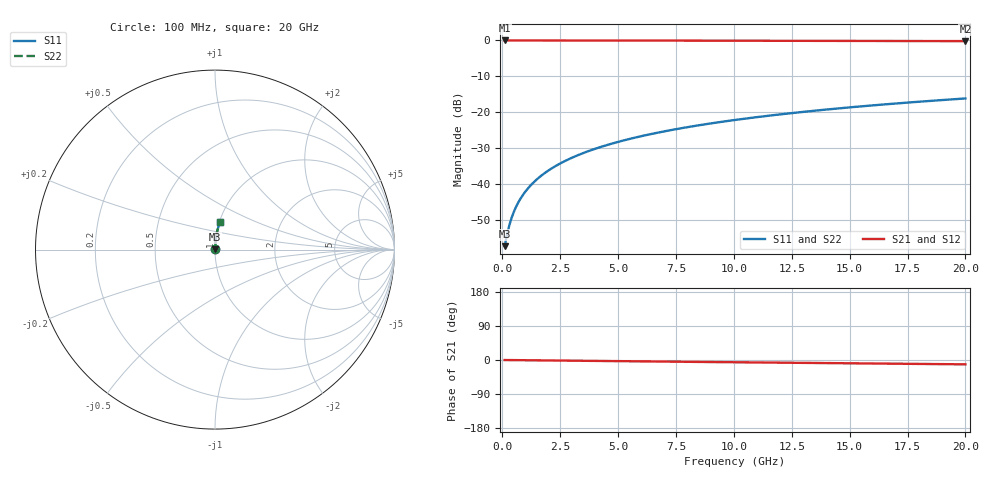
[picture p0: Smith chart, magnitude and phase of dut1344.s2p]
! Touchstone file exported from HFSS 2024.1.0
!  File:  C:/UserFiles/LocalFiles/RDL_TSV_Batchsim/temp_RDL_top_1344_1780365938.aedt
!  Generated:  10:07:55 AM Jun  2, 2026
!  Design:  RDL_top
!  Project:  temp_RDL_top_1344_1780365938
!  Setup:  Setup1
!  Solution:  Sweep
! Variables:
!  dtsv = 10.80580581um
!  hbump = 3um
!  htsv = 92.05um
!  ldown = 100um
!  lrdl = 112.75um
!  p = 40
!  p1 = 44.24um
!  rhole = 1um
!  t = 450um
!  tdown = 3.915915916um
!  trdl = 3.7um
!  wdown = 15.38538539um
!  wrdl = 11.55um
# GHz S MA R 50.000000
! Terminal data exported
! Port[1] = Box2_T1
! Port[2] = Box2_T2
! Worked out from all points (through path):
!   200 points, 100 MHz to 20 GHz, reference 50 ohm
!   highest |S21| = -0.01 dB at 100 MHz (marker M1); lowest = -0.2 dB at 20 GHz (marker M2)
!   group delay of S21, straight-line fit = 1.58 ps
!   lowest |S11| = -57.4 dB at 100 MHz (marker M3), VSWR 1.00, Z = 50.1 + j0.0794 ohm
!   |S11| at or under -10 dB: start of sweep to end of sweep
!   |S22| runs from -57.4 to -16.2 dB; largest |S21 - S12| = 2.2e-15
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0.1  0.001348 36.0  0.9989 -0.1  0.9989 -0.1  0.001348 36.0
! Gamma 0 0 0 0
! Port Impedance 50 0 50 0
0.2  0.001928 55.0  0.9989 -0.1  0.9989 -0.1  0.001928 55.0
0.3  0.002614 64.5  0.9989 -0.2  0.9989 -0.2  0.002614 64.5
0.4  0.003336 69.8  0.9988 -0.2  0.9988 -0.2  0.003336 69.8
0.5  0.004071 73.3  0.9988 -0.3  0.9988 -0.3  0.004071 73.3
0.6  0.004813 75.7  0.9988 -0.4  0.9988 -0.4  0.004813 75.7
0.8  0.006306 78.8  0.9987 -0.5  0.9987 -0.5  0.006306 78.8
1.1  0.008563 81.4  0.9987 -0.7  0.9987 -0.7  0.008563 81.4
1.5  0.01159 83.3  0.9985 -0.9  0.9985 -0.9  0.01159 83.3
1.8  0.01387 84.2  0.9984 -1.1  0.9984 -1.1  0.01387 84.2
2.1  0.01616 84.8  0.9983 -1.3  0.9983 -1.3  0.01616 84.8
2.7  0.02074 85.5  0.998 -1.7  0.998 -1.7  0.02074 85.5
3.5  0.02687 86.0  0.9975 -2.1  0.9975 -2.1  0.02687 86.0
4.2  0.03225 86.1  0.9971 -2.6  0.9971 -2.6  0.03225 86.1
5  0.03842 86.1  0.9964 -3.0  0.9964 -3.0  0.03842 86.1
5.9  0.04538 86.0  0.9956 -3.6  0.9956 -3.6  0.04538 86.0
6.8  0.05236 85.8  0.9947 -4.1  0.9947 -4.1  0.05236 85.8
8.3  0.06404 85.3  0.9931 -5.0  0.9931 -5.0  0.06404 85.3
10.1  0.07811 84.6  0.991 -6.0  0.991 -6.0  0.07811 84.6
13.4  0.1039 83.0  0.9869 -7.8  0.9869 -7.8  0.1039 83.0
16.7  0.1296 81.3  0.9824 -9.7  0.9824 -9.7  0.1296 81.3
20  0.1551 79.5  0.9775 -11.4  0.9775 -11.4  0.1551 79.5
